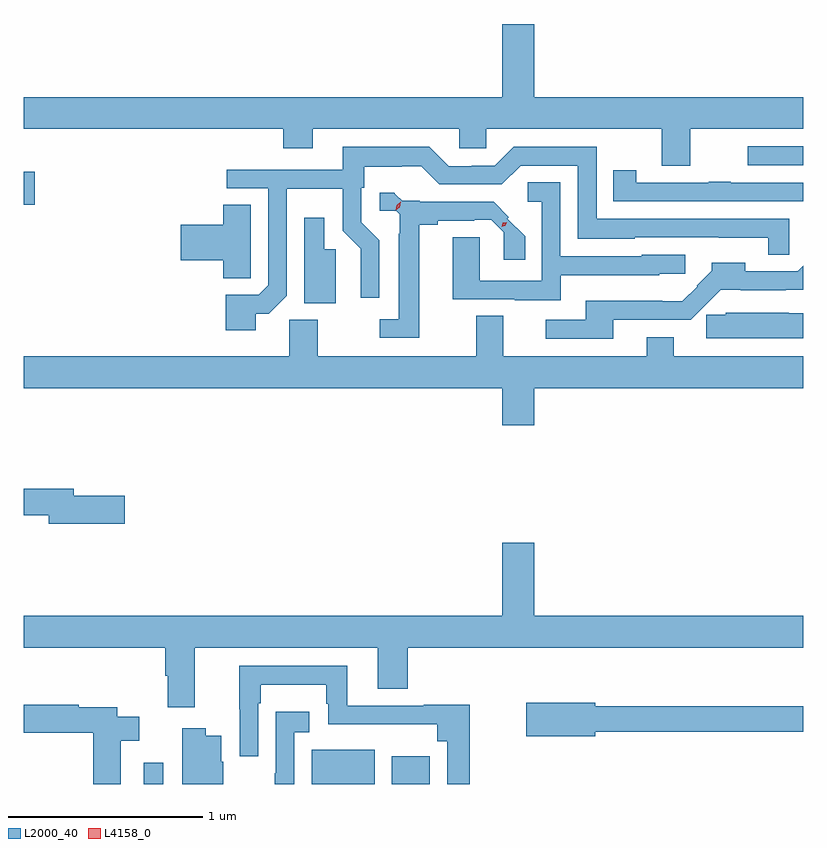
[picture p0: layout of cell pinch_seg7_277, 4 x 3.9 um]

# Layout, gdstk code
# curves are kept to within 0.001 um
import gdstk
lib = gdstk.Library(unit=1e-6, precision=1e-09)
def R(c, l, rs):  # rectangles x0, y0, x1, y1
    for r in rs: c.add(gdstk.rectangle(r[:2], r[2:], *l))
def P(c, l, *ps):  # polygons
    for p in ps: c.add(gdstk.Polygon(p, *l))
L2000_40 = (2000, 40)
L4158_0 = (4158, 0)

pinch_seg7_277 = lib.new_cell('pinch_seg7_277')
R(pinch_seg7_277, L2000_40, [(618.71,1054.529,618.811,1054.639), (619.574,1054.529,619.897,1054.705), (619.985,1054.529,620.179,1054.672), (618.096,1057.502,618.151,1057.672), (621.813,1057.707,622.096,1057.803)])
P(pinch_seg7_277, L2000_40, [(621.517,1057.892),(622.096,1057.892),(622.096,1058.056),(620.716,1058.056),(620.716,1058.431),(620.552,1058.431),(620.552,1058.056),(618.096,1058.056),(618.096,1057.892),(619.427,1057.892),(619.427,1057.793),(619.579,1057.793),(619.579,1057.892),(620.331,1057.892),(620.331,1057.794),(620.469,1057.794),(620.469,1057.892),(621.37,1057.892),(621.37,1057.702),(621.517,1057.702)],
  [(619.285,1056.943),(619.353,1056.943),(619.446,1057.035),(619.446,1057.586),(619.734,1057.586),(619.734,1057.37),(619.826,1057.278),(619.826,1057.172),(619.824,1057.172),(619.824,1057.026),(619.92,1057.026),(619.92,1057.32),(619.827,1057.413),(619.827,1057.59),(619.843,1057.59),(619.843,1057.697),(620.036,1057.697),(620.036,1057.701),(620.136,1057.701),(620.229,1057.608),(620.55,1057.608),(620.646,1057.704),(620.94,1057.704),(620.94,1057.328),(621.231,1057.328),(621.231,1057.335),(621.918,1057.334),(621.918,1057.246),(622.026,1057.246),(622.026,1057.431),(621.036,1057.431),(621.036,1057.8),(620.61,1057.8),(620.514,1057.704),(620.394,1057.704),(620.394,1057.701),(620.277,1057.701),(620.177,1057.801),(619.733,1057.801),(619.733,1057.683),(619.137,1057.683),(619.137,1057.587),(619.35,1057.587),(619.35,1057.089),(619.302,1057.041),(619.133,1057.041),(619.133,1056.858),(619.285,1056.858)],
  [(622.096,1057.617),(621.725,1057.617),(621.725,1057.622),(621.613,1057.622),(621.613,1057.617),(621.24,1057.617),(621.24,1057.681),(621.121,1057.681),(621.121,1057.521),(622.096,1057.521)],
  [(620.851,1057.142),(621.357,1057.142),(621.357,1057.149),(621.492,1057.149),(621.492,1057.245),(621.267,1057.245),(621.267,1057.239),(620.85,1057.239),(620.85,1057.619),(620.682,1057.619),(620.682,1057.518),(620.754,1057.518),(620.754,1057.113),(620.437,1057.113),(620.437,1057.337),(620.297,1057.337),(620.297,1057.017),(620.615,1057.017),(620.615,1057.013),(620.851,1057.013)],
  [(620.125,1057.4),(620.221,1057.4),(620.221,1057.422),(620.408,1057.422),(620.408,1057.425),(620.496,1057.425),(620.559,1057.362),(620.559,1057.221),(620.669,1057.221),(620.669,1057.34),(620.578,1057.432),(620.586,1057.44),(620.508,1057.518),(620.128,1057.518),(620.128,1057.524),(620.037,1057.524),(619.996,1057.565),(619.923,1057.565),(619.923,1057.473),(620.007,1057.473),(620.025,1057.455),(620.025,1057.355),(620.021,1057.355),(620.021,1056.915),(619.923,1056.915),(619.923,1056.819),(620.125,1056.819)],
  [(619.26,1057.234),(619.261,1057.234),(619.261,1057.502),(619.118,1057.502),(619.118,1057.4),(618.9,1057.4),(618.9,1057.217),(619.118,1057.217),(619.118,1057.126),(619.26,1057.126)],
  [(619.696,1057.275),(619.639,1057.275),(619.639,1057.435),(619.535,1057.435),(619.535,1056.997),(619.696,1056.997)],
  [(621.121,1056.912),(621.519,1056.912),(621.674,1057.067),(621.775,1057.067),(621.775,1057.065),(622.096,1057.066),(622.096,1057.189),(622.068,1057.161),(621.799,1057.161),(621.799,1057.204),(621.628,1057.204),(621.628,1057.165),(621.549,1057.086),(621.552,1057.083),(621.476,1057.007),(621.374,1057.007),(621.374,1057.009),(620.981,1057.009),(620.981,1056.912),(620.775,1056.912),(620.775,1056.816),(621.121,1056.816)],
  [(622.096,1056.947),(622.022,1056.947),(622.022,1056.949),(621.698,1056.949),(621.698,1056.939),(621.599,1056.939),(621.599,1056.818),(622.096,1056.818)],
  [(620.552,1056.372),(620.716,1056.372),(620.716,1056.56),(622.096,1056.56),(622.096,1056.724),(621.433,1056.724),(621.433,1056.823),(621.293,1056.823),(621.293,1056.724),(620.557,1056.724),(620.557,1056.932),(620.417,1056.932),(620.417,1056.724),(619.605,1056.724),(619.605,1056.912),(619.458,1056.912),(619.458,1056.724),(618.096,1056.724),(618.096,1056.56),(620.552,1056.56)],
  [(618.613,1056.008),(618.352,1056.008),(618.352,1056.044),(618.096,1056.044),(618.096,1055.908),(618.224,1055.908),(618.224,1055.866),(618.613,1055.866)],
  [(618.973,1055.228),(619.913,1055.228),(619.913,1055.017),(620.066,1055.017),(620.066,1055.228),(622.096,1055.228),(622.096,1055.392),(620.716,1055.392),(620.716,1055.767),(620.552,1055.767),(620.552,1055.392),(618.096,1055.392),(618.096,1055.228),(618.821,1055.228),(618.821,1055.084),(618.833,1055.084),(618.833,1054.923),(618.973,1054.923)],
  [(620.384,1054.937),(620.149,1054.937),(620.149,1054.932),(619.756,1054.932),(619.756,1055.136),(619.201,1055.136),(619.201,1054.912),(619.203,1054.912),(619.203,1054.671),(619.299,1054.671),(619.299,1054.943),(619.312,1054.943),(619.312,1055.039),(619.647,1055.039),(619.647,1054.941),(619.659,1054.941),(619.659,1054.835),(620.219,1054.835),(620.219,1054.748),(620.268,1054.748),(620.268,1054.529),(620.384,1054.529)],
  [(621.028,1054.798),(622.096,1054.798),(622.096,1054.927),(621.028,1054.927),(621.028,1054.945),(620.676,1054.945),(620.676,1054.775),(621.028,1054.775)],
  [(618.594,1054.75),(618.688,1054.75),(618.688,1054.874),(618.574,1054.874),(618.574,1054.923),(618.378,1054.923),(618.378,1054.935),(618.096,1054.935),(618.096,1054.793),(618.452,1054.793),(618.452,1054.529),(618.594,1054.529)],
  [(619.485,1054.794),(619.561,1054.794),(619.561,1054.9),(619.389,1054.9),(619.389,1054.583),(619.384,1054.583),(619.384,1054.529),(619.485,1054.529)],
  [(619.12,1054.644),(619.108,1054.644),(619.108,1054.777),(619.03,1054.777),(619.03,1054.816),(618.908,1054.816),(618.908,1054.529),(619.12,1054.529)])
P(pinch_seg7_277, L4158_0, [(620.548,1057.391),(620.548,1057.391),(620.554,1057.41),(620.574,1057.414),(620.574,1057.414),(620.574,1057.414),(620.567,1057.395),(620.548,1057.391)],
  [(620.004,1057.474),(620.004,1057.474),(620.009,1057.501),(620.03,1057.519),(620.03,1057.519),(620.03,1057.519),(620.026,1057.491),(620.005,1057.474)])

lib.write_gds('pinch_seg7_277.gds')
